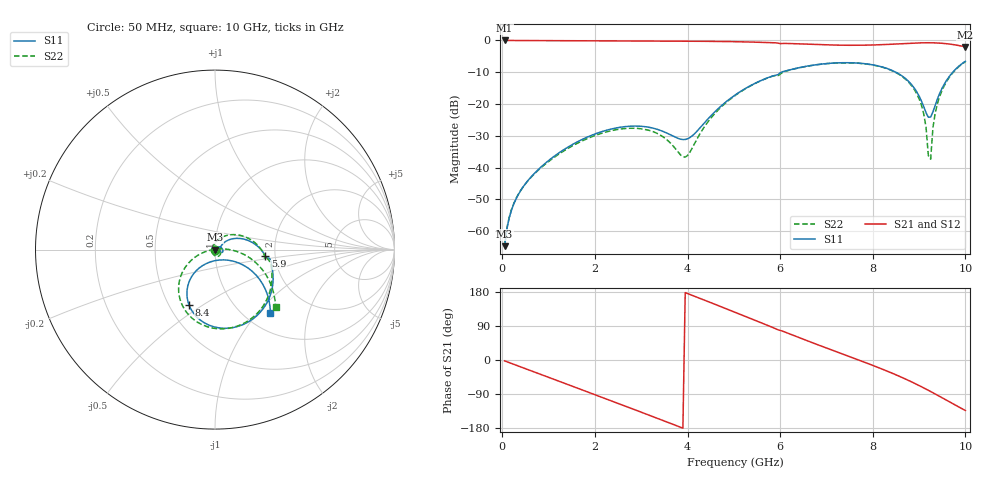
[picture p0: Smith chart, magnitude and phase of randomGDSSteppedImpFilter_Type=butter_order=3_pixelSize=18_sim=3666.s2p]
! freq	dB(S11)	phase(S11)	dB(S12)	phase(S12)
!  dB(S21)	phase(S21)	dB(S22)	phase(S22)
!S-par simulation data
#  GHz  S  DB  R 50
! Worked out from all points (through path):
!   200 points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, 50 MHz to 10 GHz, reference 50 ohm
!   highest |S21| = -0.01 dB at 50 MHz (marker M1); lowest = -2.0 dB at 10 GHz (marker M2)
!   group delay of S21, straight-line fit = 133 ps
!   lowest |S11| = -64.7 dB at 50 MHz (marker M3), VSWR 1.00, Z = 50 + j0.0407 ohm
!   |S11| at or under -10 dB: start of sweep to 6.028 GHz; 8.498 GHz to 9.728 GHz (1.23 GHz wide, 13.5 % of centre)
!   |S22| runs from -64.5 to -6.7 dB; largest |S21 - S12| = 0
!   S11 on the Smith chart (normalised r, x): 50 MHz: 1.00, +0.00; 5.9 GHz: 1.77, -0.15; 8.4 GHz: 0.63, -0.44; 10 GHz: 1.29, -1.17
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0.05  -64.74 44.5  -0.01 -2.3  -0.01 -2.3  -64.48 43.1
0.2  -53.33 75.1  -0.02 -9.2  -0.02 -9.2  -53.16 67.7
0.5  -45.08 76.2  -0.03 -22.9  -0.03 -22.9  -45.11 58.1
1.75  -30.98 33.2  -0.09 -80.1  -0.09 -80.1  -31.44 -5.6
2.55  -27.31 -0.1  -0.14 -116.9  -0.14 -116.9  -27.88 -45.1
3.4  -28.23 -24.4  -0.20 -156.3  -0.20 -156.3  -29.68 -94.8
3.95  -31.16 2.7  -0.23 177.8  -0.23 177.8  -36.71 169.4
4.5  -23.78 37.6  -0.29 151.5  -0.29 151.5  -24.51 71.6
5.05  -16.95 26.2  -0.40 124.7  -0.40 124.7  -17.10 36.6
5.9  -10.95 -7.6  -0.75 82.7  -0.75 82.7  -11.05 -8.9
6.7  -7.80 -42.7  -1.25 45.4  -1.25 45.4  -7.84 -46.0
7.55  -7.04 -79.0  -1.52 6.6  -1.52 6.6  -7.07 -84.9
8.35  -9.04 -112.9  -1.23 -31.3  -1.23 -31.3  -9.11 -122.6
8.4  -9.33 -115.0  -1.19 -33.9  -1.19 -33.9  -9.41 -125.2
9  -17.50 -130.5  -0.77 -67.4  -0.77 -67.4  -18.33 -158.9
9.1  -20.82 -121.6  -0.74 -73.6  -0.74 -73.6  -23.08 -165.7
9.15  -22.71 -110.4  -0.73 -76.7  -0.73 -76.7  -27.29 -169.7
9.2  -24.17 -91.8  -0.73 -79.9  -0.73 -79.9  -36.25 -177.1
9.25  -24.08 -68.3  -0.74 -83.2  -0.74 -83.2  -37.35 14.9
9.3  -22.44 -49.3  -0.75 -86.5  -0.75 -86.5  -27.33 5.3
9.45  -16.49 -29.5  -0.85 -96.5  -0.85 -96.5  -17.39 -6.3
10  -6.57 -48.9  -2.03 -133.2  -2.03 -133.2  -6.67 -43.4
